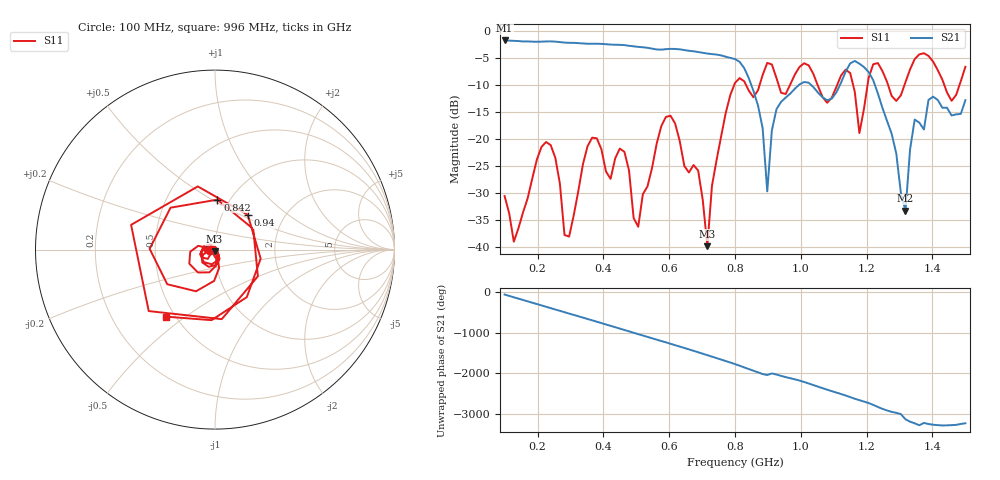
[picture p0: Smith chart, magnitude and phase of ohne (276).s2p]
! NanoVNA-App
! Date: 2025-09-25 14:22:57
! Start: 100MHz Stop: 1,5GHz Points: 101
! S-Parameter data: F S11 S21 S12 S22
# Hz S RI R 50
!  Frequency  S11_Real  S11_Imag  S21_Real  S21_Imag  S12_Real  S12_Imag  S22_Real  S22_Imag
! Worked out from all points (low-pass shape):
!   101 points, 100 MHz to 1.5 GHz, reference 50 ohm
!   highest |S21| = -1.79 dB at 100 MHz (marker M1); lowest = -33.4 dB at 1.318 GHz (marker M2)
!   |S21| within 3 dB of the highest: start of sweep to 771.2 MHz
!   lowest |S11| = -39.9 dB at 716 MHz (marker M3), VSWR 1.02, Z = 49.8 - j0.977 ohm
!   |S11| at or under -10 dB: start of sweep to 797.9 MHz; 833.2 MHz to 875 MHz (41.88 MHz wide, 4.9 % of centre); 1.051 GHz to 1.111 GHz (60.08 MHz wide, 5.56 % of centre) (the widest 3 of 7)
!   S12 and S22 are empty: the file has one direction only
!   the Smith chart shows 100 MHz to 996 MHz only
!   S11 on the Smith chart (normalised r, x): 100 MHz: 0.94, -0.01; 842 MHz: 0.88, +0.53; 940 MHz: 1.32, +0.55; 996 MHz: 0.45, -0.43
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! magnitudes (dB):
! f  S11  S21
! 100 MHz  -30.6  -1.8
! 128 MHz  -39.1  -1.9
! 226 MHz  -20.6  -2.0
! 296 MHz  -38.1  -2.2
! 338 MHz  -24.7  -2.4
! 464 MHz  -22.4  -2.7
! 506 MHz  -36.3  -3.0
! 576 MHz  -17.7  -3.5
! 688 MHz  -25.9  -3.9
! 716 MHz  -39.9  -4.2
! 800 MHz  -9.7  -5.2
! 842 MHz  -11.1  -8.8
! 898 MHz  -6.0  -29.8
! 940 MHz  -11.5  -13.2
! 996 MHz  -6.7  -9.9
! 1.038 GHz  -8.0  -10.4
! 1.178 GHz  -19.0  -6.1
! 1.22 GHz  -6.2  -9.2
! 1.276 GHz  -12.1  -19.1
! 1.318 GHz  -9.5  -33.4
! 1.346 GHz  -5.2  -16.5
! 1.5 GHz  -6.7  -12.9
